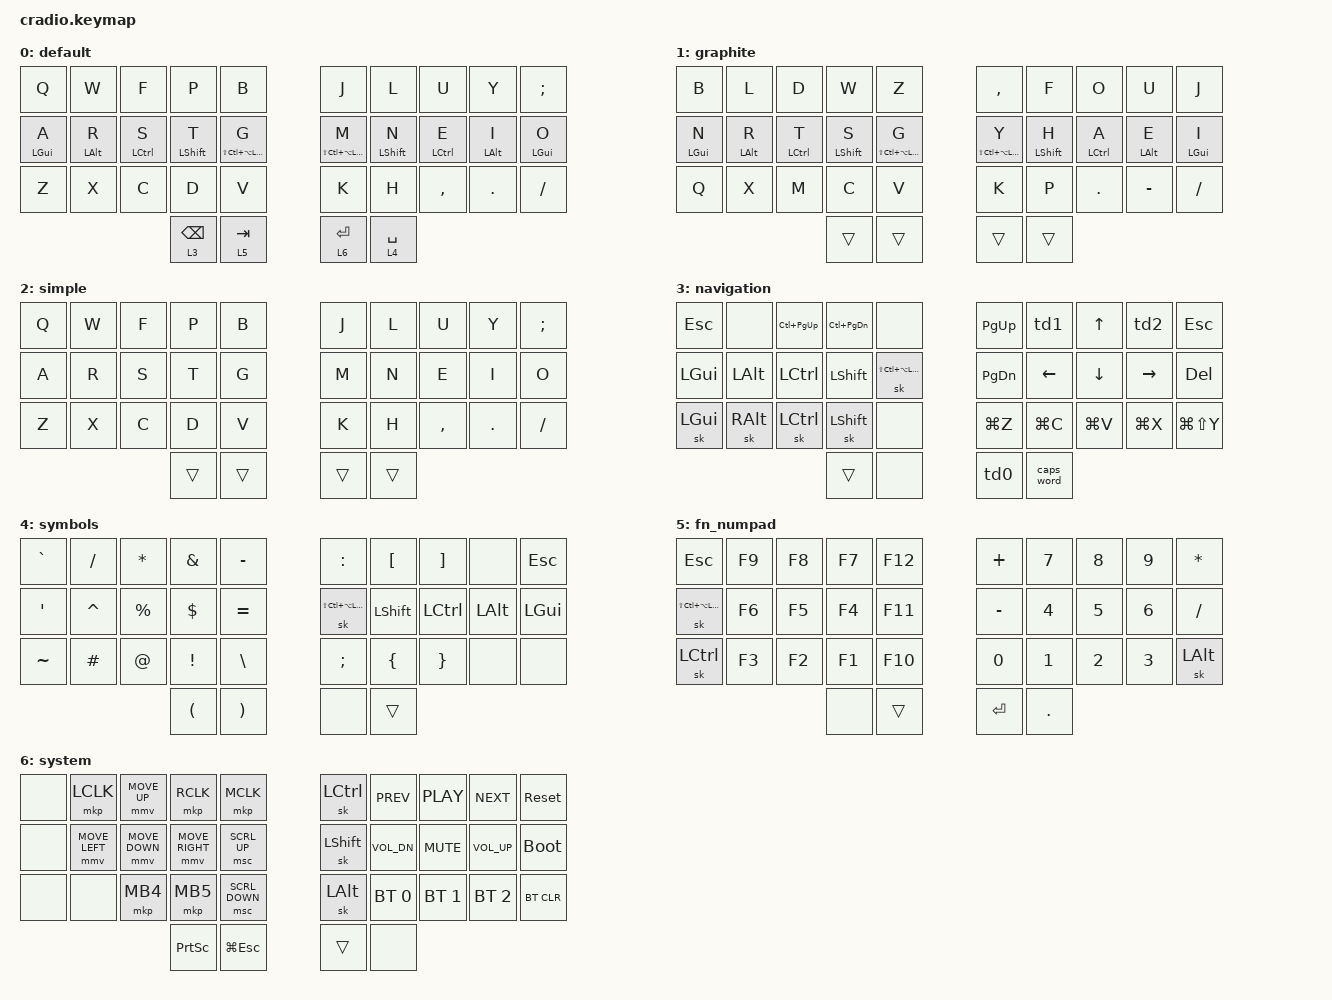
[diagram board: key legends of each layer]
// Copyright (c) 2022 The ZMK Contributors
// SPDX-License-Identifier: MIT

#include <behaviors.dtsi>
#include <dt-bindings/zmk/keys.h>
#include <dt-bindings/zmk/bt.h>
#include <dt-bindings/zmk/outputs.h>
#include <dt-bindings/zmk/ext_power.h>
#include <dt-bindings/zmk/pointing.h>

// Layers
// 0 Default
// 1 Graphite
// 2 Simple Colemak layer without home row mods or layer switching
// 3 Navigation
// 4 Symbols
// 5 Function keys and numpad
// 6 System

// Customer keycodes
#define HYP LS(LC(LA(LGUI)))
#define HYPER(key) LS(LC(LA(LG(key))))

// Key positions
#define KEYS_L 0 1 2 3 4 10 11 12 13 14 20 21 22 23 24
#define KEYS_R 5 6 7 8 9 15 16 17 18 19 25 26 27 28 29
#define THUMBS_L 30 31
#define THUMBS_R 32 33

// Make sticky keys lazy so they don't activate until the next key press
&sk {
    lazy;
};

/ {
    behaviors {
        lhrm: left_homerow_mods {
            compatible = "zmk,behavior-hold-tap";
            label = "HOMEROW_MODS";
            #binding-cells = <2>;
            tapping-term-ms = <200>;
            quick-tap-ms = <150>;
            global-quick-tap;
            flavor = "balanced";
            bindings = <&kp>, <&kp>;
            hold-trigger-key-positions = <KEYS_R THUMBS_L THUMBS_R>;
            hold-trigger-on-release;
        };
        rhrm: right_homerow_mods {
            compatible = "zmk,behavior-hold-tap";
            label = "HOMEROW_MODS";
            #binding-cells = <2>;
            tapping-term-ms = <200>;
            quick-tap-ms = <150>;
            global-quick-tap;
            flavor = "balanced";
            bindings = <&kp>, <&kp>;
            hold-trigger-key-positions = <KEYS_L THUMBS_L THUMBS_R>;
            hold-trigger-on-release;
        };
        mok: mo_layer_key {
            compatible = "zmk,behavior-hold-tap";
            label = "MO_LAYER_KEY";
            #binding-cells = <2>;
            tapping-term-ms = <200>;
            quick-tap-ms = <150>;
            flavor = "hold-preferred";
            bindings = <&mo>, <&kp>;
        };
        td0: tap_dance_capslock {
            compatible = "zmk,behavior-tap-dance";
            label = "TAP_DANCE_CAPSLOCK";
            #binding-cells = <0>;
            tapping-term-ms = <200>;
            bindings = <&kp ENTER>, <&kp CAPS>;
        };
        td1: tap_dance_home {
            compatible = "zmk,behavior-tap-dance";
            label = "TAP_DANCE_HOME";
            #binding-cells = <0>;
            tapping-term-ms = <150>;
            bindings = <&mt LS(HOME) HOME>, <&kp LC(HOME)>;
        };
        td2: tap_dance_end {
            compatible = "zmk,behavior-tap-dance";
            label = "TAP_DANCE_END";
            #binding-cells = <0>;
            tapping-term-ms = <150>;
            bindings = <&mt LS(END) END>, <&kp LC(END)>;
        };
    };

    macros {
        nxt_sent: nxt_sent {
            label = "ZM_NXT_SENT";
            compatible = "zmk,behavior-macro";
            #binding-cells = <0>;
            bindings
                = <&macro_tap &kp DOT &kp SPACE>
                , <&macro_tap &sk LSHFT>
                ;
        };
    };

    combos {
        compatible = "zmk,combos";
        combo_esc {
            timeout-ms = <50>;
            key-positions = <2 7>;
            bindings = <&kp ESC>;
            layers = <0 1 2>;
        };
        combo_underscore {
            timeout-ms = <50>;
            key-positions = <23 26>;
            bindings = <&kp UNDER>;
            layers = <0 1 2>;
        };
        combo_minus {
            timeout-ms = <50>;
            key-positions = <3 6>;
            bindings = <&kp MINUS>;
            layers = <0 1 2>;
        };
        combo_nxt_sentence {
            timeout-ms = <50>;
            key-positions = <24 25>;
            bindings = <&nxt_sent>;
            layers = <0 1 2>;
        };
        combo_left_parent {
            timeout-ms = <50>;
            key-positions = <12 13>;
            bindings = <&kp LPAR>;
            layers = <0 1 2>;
        };
        combo_right_parent {
            timeout-ms = <50>;
            key-positions = <16 17>;
            bindings = <&kp RPAR>;
            layers = <0 1 2>;
        };
        combo_left_bracket {
            timeout-ms = <50>;
            key-positions = <2 3>;
            bindings = <&kp LBKT>;
            layers = <0 1 2>;
        };
        combo_right_bracket {
            timeout-ms = <50>;
            key-positions = <6 7>;
            bindings = <&kp RBKT>;
            layers = <0 1 2>;
        };
        combo_left_brace {
            timeout-ms = <50>;
            key-positions = <22 23>;
            bindings = <&kp LBRC>;
            layers = <0 1 2>;
        };
        combo_right_brace {
            timeout-ms = <50>;
            key-positions = <26 27>;
            bindings = <&kp RBRC>;
            layers = <0 1 2>;
        };
        combo_toggle_simple_layer {
            timeout-ms = <50>;
            key-positions = <31 32>;
            bindings = <&tog 2>;
            layers = <0 2>;
        };
        combo_toggle_graphite_layer {
            timeout-ms = <50>;
            key-positions = <30 33>;
            bindings = <&tog 1>;
            layers = <0 1>;
        };
    };

    keymap {
        compatible = "zmk,keymap";
        default {
            bindings = <
        //╭0─────────────┬1─────────────┬2─────────────┬3─────────────┬4─────────────╮   ╭5─────────────┬6─────────────┬7─────────────┬8─────────────┬9─────────────╮
           &kp Q          &kp W          &kp F          &kp P          &kp B              &kp J          &kp L          &kp U          &kp Y          &kp SEMI
        //├10────────────┼11────────────┼12────────────┼13────────────┼14────────────┤   ├15────────────┼16────────────┼17────────────┼18────────────┼19────────────┤
           &lhrm LGUI A   &lhrm LALT R   &lhrm LCTRL S  &lhrm LSHIFT T &lhrm HYP G        &rhrm HYP M    &rhrm LSHIFT N &rhrm LCTRL E  &rhrm LALT I   &rhrm LGUI O
        //├20────────────┼21────────────┼22────────────┼23────────────┼24────────────┤   ├25────────────┼26────────────┼27────────────┼28────────────┼29────────────┤
           &kp Z          &kp X          &kp C          &kp D          &kp V              &kp K          &kp H          &kp COMMA      &kp DOT        &kp FSLH
        //╰──────────────┴──────────────┴──────────────┼30────────────┼31────────────┤   ├32────────────┼33────────────┼──────────────┴──────────────┴──────────────╯
                                                        &mok 3 BSPC    &mok 5 TAB         &mok 6 ENTER   &mok 4 SPACE
        //                                             ╰──────────────┴──────────────╯   ╰──────────────┴──────────────╯
            >;
        };

        graphite {
            bindings = <
        //╭0─────────────┬1─────────────┬2─────────────┬3─────────────┬4─────────────╮   ╭5─────────────┬6─────────────┬7─────────────┬8─────────────┬9─────────────╮
           &kp B          &kp L          &kp D          &kp W          &kp Z              &kp COMMA      &kp F          &kp O          &kp U          &kp J
        //├10────────────┼11────────────┼12────────────┼13────────────┼14────────────┤   ├15────────────┼16────────────┼17────────────┼18────────────┼19────────────┤
           &lhrm LGUI N   &lhrm LALT R   &lhrm LCTRL T  &lhrm LSHIFT S &lhrm HYP G        &rhrm HYP Y    &rhrm LSHIFT H &rhrm LCTRL A  &rhrm LALT E   &rhrm LGUI I
        //├20────────────┼21────────────┼22────────────┼23────────────┼24────────────┤   ├25────────────┼26────────────┼27────────────┼28────────────┼29────────────┤
           &kp Q          &kp X          &kp M          &kp C          &kp V              &kp K          &kp P          &kp DOT        &kp MINUS      &kp FSLH
        //╰──────────────┴──────────────┴──────────────┼30────────────┼31────────────┤   ├32────────────┼33────────────┼──────────────┴──────────────┴──────────────╯
                                                        &trans         &trans             &trans         &trans
        //                                             ╰──────────────┴──────────────╯   ╰──────────────┴──────────────╯
            >;
        };

        simple {
            bindings = <
        //╭0─────────────┬1─────────────┬2─────────────┬3─────────────┬4─────────────╮   ╭5─────────────┬6─────────────┬7─────────────┬8─────────────┬9─────────────╮
           &kp Q          &kp W          &kp F          &kp P          &kp B              &kp J          &kp L          &kp U          &kp Y          &kp SEMI
        //├10────────────┼11────────────┼12────────────┼13────────────┼14────────────┤   ├15────────────┼16────────────┼17────────────┼18────────────┼19────────────┤
           &kp A          &kp R          &kp S          &kp T          &kp G              &kp M          &kp N          &kp E          &kp I          &kp O
        //├20────────────┼21────────────┼22────────────┼23────────────┼24────────────┤   ├25────────────┼26────────────┼27────────────┼28────────────┼29────────────┤
           &kp Z          &kp X          &kp C          &kp D          &kp V              &kp K          &kp H          &kp COMMA      &kp DOT        &kp FSLH
        //╰──────────────┴──────────────┴──────────────┼30────────────┼31────────────┤   ├32────────────┼33────────────┼──────────────┴──────────────┴──────────────╯
                                                        &trans         &trans             &trans         &trans
        //                                             ╰──────────────┴──────────────╯   ╰──────────────┴──────────────╯
            >;
        };

        navigation {
            bindings = <
        //╭0─────────────┬1─────────────┬2─────────────┬3─────────────┬4─────────────╮   ╭5─────────────┬6─────────────┬7─────────────┬8─────────────┬9─────────────╮
           &kp ESC        &none          &kp LC(PG_UP)  &kp LC(PG_DN)  &none              &kp PG_UP      &td1           &kp UP         &td2           &kp ESC
        //├10────────────┼11────────────┼12────────────┼13────────────┼14────────────┤   ├15────────────┼16────────────┼17────────────┼18────────────┼19────────────┤
           &kp LGUI       &kp LALT       &kp LCTRL      &kp LSHIFT     &sk HYP            &kp PG_DN      &kp LEFT       &kp DOWN       &kp RIGHT      &kp DEL
        //├20────────────┼21────────────┼22────────────┼23────────────┼24────────────┤   ├25────────────┼26────────────┼27────────────┼28────────────┼29────────────┤
           &sk LGUI       &sk RALT       &sk LCTRL      &sk LSHIFT     &none              &kp LG(Z)      &kp LG(C)      &kp LG(V)      &kp LG(X)      &kp LG(LS(Y))
        //╰──────────────┴──────────────┴──────────────┼30────────────┼31────────────┤   ├32────────────┼33────────────┼──────────────┴──────────────┴──────────────╯
                                                        &trans         &none              &td0           &caps_word
        //                                             ╰──────────────┴──────────────╯   ╰──────────────┴──────────────╯
            >;
        };

        symbols {
            bindings = <
        //╭0─────────────┬1─────────────┬2─────────────┬3─────────────┬4─────────────╮   ╭5─────────────┬6─────────────┬7─────────────┬8─────────────┬9─────────────╮
           &kp GRAVE      &kp FSLH       &kp ASTRK      &kp AMPS       &kp MINUS          &kp COLON      &kp LBKT       &kp RBKT       &none          &kp ESC
        //├10────────────┼11────────────┼12────────────┼13────────────┼14────────────┤   ├15────────────┼16────────────┼17────────────┼18────────────┼19────────────┤
           &kp APOS       &kp CARET      &kp PERCENT    &kp DLLR       &kp EQUAL          &sk HYP        &kp LSHFT      &kp LCTRL      &kp LALT       &kp LGUI
        //├20────────────┼21────────────┼22────────────┼23────────────┼24────────────┤   ├25────────────┼26────────────┼27────────────┼28────────────┼29────────────┤
           &kp TILDE      &kp HASH       &kp AT         &kp EXCL       &kp BSLH           &kp SEMI       &kp LBRC       &kp RBRC       &none          &none
        //╰──────────────┴──────────────┴──────────────┼30────────────┼31────────────┤   ├32────────────┼33────────────┼──────────────┴──────────────┴──────────────╯
                                                        &kp LPAR       &kp RPAR           &none          &trans
        //                                             ╰──────────────┴──────────────╯   ╰──────────────┴──────────────╯
            >;
        };

        fn_numpad {
            bindings = <
        //╭0─────────────┬1─────────────┬2─────────────┬3─────────────┬4─────────────╮   ╭5─────────────┬6─────────────┬7─────────────┬8─────────────┬9─────────────╮
           &kp ESC        &kp F9         &kp F8         &kp F7         &kp F12            &kp PLUS       &kp N7         &kp N8         &kp N9         &kp ASTRK
        //├10────────────┼11────────────┼12────────────┼13────────────┼14────────────┤   ├15────────────┼16────────────┼17────────────┼18────────────┼19────────────┤
           &sk HYP        &kp F6         &kp F5         &kp F4         &kp F11            &kp MINUS      &kp N4         &kp N5         &kp N6         &kp FSLH
        //├20────────────┼21────────────┼22────────────┼23────────────┼24────────────┤   ├25────────────┼26────────────┼27────────────┼28────────────┼29────────────┤
           &sk LCTRL      &kp F3         &kp F2         &kp F1         &kp F10            &kp N0         &kp N1         &kp N2         &kp N3         &sk LALT
        //╰──────────────┴──────────────┴──────────────┼30────────────┼31────────────┤   ├32────────────┼33────────────┼──────────────┴──────────────┴──────────────╯
                                                        &none          &trans             &kp ENTER      &kp DOT
        //                                             ╰──────────────┴──────────────╯   ╰──────────────┴──────────────╯
            >;
        };

        system {
            bindings = <
        //╭0─────────────┬1─────────────┬2─────────────┬3─────────────┬4─────────────╮   ╭5─────────────┬6─────────────┬7─────────────┬8─────────────┬9─────────────╮
           &none          &mkp LCLK      &mmv MOVE_UP   &mkp RCLK     &mkp MCLK           &sk LCTRL      &kp C_PREV     &kp C_PLAY     &kp C_NEXT     &sys_reset
        //├10────────────┼11────────────┼12────────────┼13────────────┼14────────────┤   ├15────────────┼16────────────┼17────────────┼18────────────┼19────────────┤
           &none          &mmv MOVE_LEFT &mmv MOVE_DOWN &mmv MOVE_RIGHT &msc SCRL_UP      &sk LSHFT      &kp C_VOL_DN   &kp C_MUTE     &kp C_VOL_UP   &bootloader
        //├20────────────┼21────────────┼22────────────┼23────────────┼24────────────┤   ├25────────────┼26────────────┼27────────────┼28────────────┼29────────────┤
           &none          &none          &mkp MB4       &mkp MB5      &msc SCRL_DOWN      &sk LALT       &bt BT_SEL 0   &bt BT_SEL 1   &bt BT_SEL 2   &bt BT_CLR
        //╰──────────────┴──────────────┴──────────────┼30────────────┼31────────────┤   ├32────────────┼33────────────┼──────────────┴──────────────┴──────────────╯
                                                        &kp PSCRN      &kp LG(ESC)        &trans         &none
        //                                             ╰──────────────┴──────────────╯   ╰──────────────┴──────────────╯
            >;
        };
    };
};
